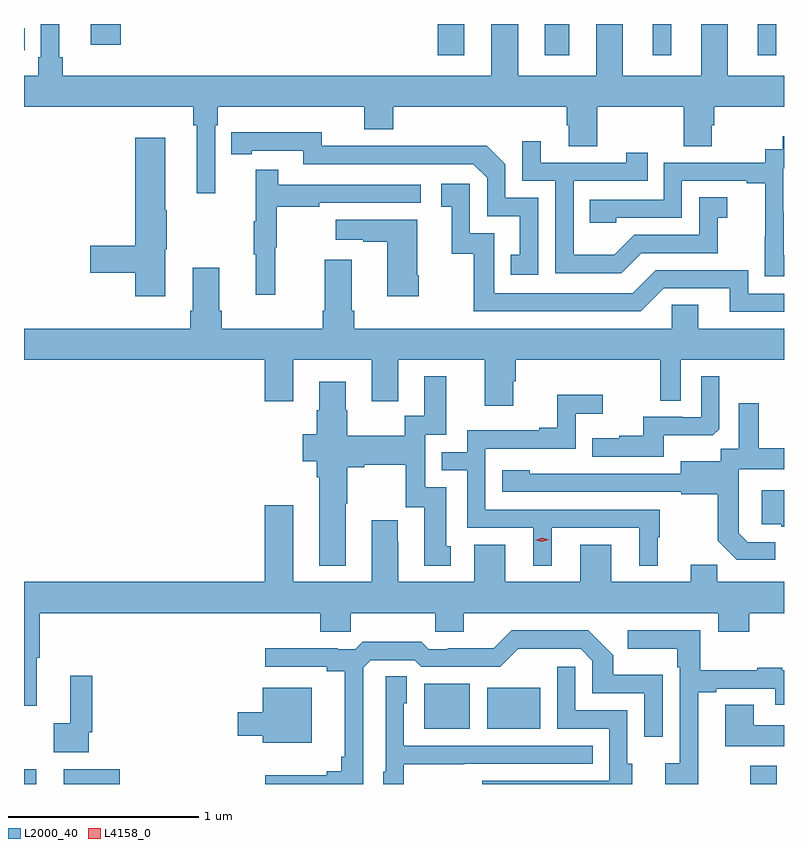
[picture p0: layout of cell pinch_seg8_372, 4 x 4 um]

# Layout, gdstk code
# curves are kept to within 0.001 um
import gdstk
lib = gdstk.Library(unit=1e-6, precision=1e-09)
def R(c, l, rs):  # rectangles x0, y0, x1, y1
    for r in rs: c.add(gdstk.rectangle(r[:2], r[2:], *l))
def P(c, l, *ps):  # polygons
    for p in ps: c.add(gdstk.Polygon(p, *l))
L2000_40 = (2000, 40)
L4158_0 = (4158, 0)

pinch_seg8_372 = lib.new_cell('pinch_seg8_372')
R(pinch_seg8_372, L2000_40, [(409.853,1104.944,409.918,1105.021), (410.063,1104.944,410.356,1105.021), (413.675,1104.944,413.815,1105.039), (411.959,1105.235,412.198,1105.471), (412.292,1105.235,412.57,1105.45), (412.031,1108.779,412.171,1108.944), (412.595,1108.779,412.723,1108.944), (413.162,1108.779,413.26,1108.944), (413.714,1108.779,413.812,1108.944), (409.853,1108.806,409.856,1108.922), (410.204,1108.836,410.363,1108.944)])
P(pinch_seg8_372, L2000_40, [(410.859,1108.412),(410.873,1108.412),(410.873,1108.508),(411.644,1108.508),(411.644,1108.391),(411.797,1108.391),(411.797,1108.508),(412.709,1108.508),(412.709,1108.41),(412.721,1108.41),(412.721,1108.3),(412.869,1108.3),(412.869,1108.508),(413.326,1108.508),(413.326,1108.3),(413.473,1108.3),(413.473,1108.41),(413.486,1108.41),(413.486,1108.508),(413.853,1108.508),(413.853,1108.672),(413.557,1108.672),(413.557,1108.944),(413.417,1108.944),(413.417,1108.672),(413.005,1108.672),(413.005,1108.944),(412.865,1108.944),(412.865,1108.672),(412.453,1108.672),(412.453,1108.944),(412.313,1108.944),(412.313,1108.672),(410.057,1108.672),(410.057,1108.768),(410.038,1108.768),(410.038,1108.944),(409.941,1108.944),(409.941,1108.768),(409.928,1108.768),(409.928,1108.672),(409.853,1108.672),(409.853,1108.508),(410.743,1108.508),(410.743,1108.412),(410.762,1108.412),(410.762,1108.053),(410.859,1108.053)],
  [(412.56,1108.029),(412.386,1108.029),(412.386,1108.206),(412.288,1108.304),(411.88,1108.304),(411.88,1108.302),(411.42,1108.302),(411.42,1108.375),(410.944,1108.374),(410.944,1108.258),(411.052,1108.258),(411.052,1108.278),(411.324,1108.278),(411.324,1108.206),(412.218,1108.206),(412.29,1108.134),(412.29,1107.933),(412.463,1107.933),(412.463,1107.729),(412.414,1107.729),(412.414,1107.624),(412.56,1107.624)],
  [(413.853,1107.727),(413.852,1107.727),(413.852,1107.956),(413.85,1107.956),(413.85,1108.185),(413.853,1108.185),(413.853,1108.354),(413.847,1108.354),(413.847,1108.284),(413.754,1108.284),(413.754,1108.215),(413.22,1108.215),(413.22,1108.02),(412.831,1108.02),(412.831,1107.897),(412.971,1107.897),(412.971,1107.924),(413.316,1107.924),(413.316,1108.119),(413.657,1108.119),(413.657,1108.107),(413.753,1108.107),(413.753,1107.823),(413.752,1107.823),(413.752,1107.617),(413.853,1107.617)],
  [(410.596,1107.759),(410.604,1107.759),(410.604,1107.965),(410.596,1107.965),(410.596,1108.345),(410.438,1108.345),(410.438,1107.776),(410.202,1107.776),(410.202,1107.634),(410.438,1107.634),(410.438,1107.51),(410.596,1107.51)],
  [(413.101,1107.738),(413.505,1107.738),(413.505,1107.923),(413.554,1107.923),(413.554,1108.033),(413.406,1108.033),(413.406,1107.834),(413.064,1107.834),(412.96,1107.73),(412.746,1107.73),(412.746,1108.119),(413.135,1108.119),(413.135,1108.267),(413.024,1108.267),(413.024,1108.215),(412.573,1108.215),(412.573,1108.327),(412.476,1108.327),(412.476,1108.119),(412.65,1108.119),(412.65,1107.633),(412.996,1107.633)],
  [(411.176,1107.768),(411.184,1107.768),(411.184,1107.982),(411.407,1107.982),(411.407,1108.002),(411.94,1108.002),(411.94,1108.098),(411.191,1108.098),(411.191,1108.177),(411.074,1108.177),(411.074,1107.905),(411.063,1107.905),(411.063,1107.731),(411.074,1107.731),(411.074,1107.519),(411.176,1107.519)],
  [(413.853,1107.525),(413.664,1107.525),(413.664,1107.648),(413.178,1107.648),(413.058,1107.528),(412.329,1107.528),(412.329,1107.843),(412.2,1107.843),(412.2,1108.102),(412.05,1108.102),(412.05,1107.981),(412.103,1107.981),(412.103,1107.735),(412.221,1107.735),(412.221,1107.432),(413.1,1107.432),(413.22,1107.552),(413.567,1107.552),(413.567,1107.429),(413.853,1107.429)],
  [(411.93,1107.622),(411.922,1107.622),(411.922,1107.913),(411.495,1107.913),(411.495,1107.809),(411.638,1107.809),(411.638,1107.799),(411.764,1107.799),(411.764,1107.51),(411.93,1107.51)],
  [(412.429,1107.063),(412.442,1107.063),(412.442,1107.176),(413.202,1107.176),(413.202,1106.962),(413.31,1106.962),(413.31,1107.176),(413.853,1107.176),(413.853,1107.34),(413.401,1107.34),(413.401,1107.467),(413.262,1107.467),(413.262,1107.34),(411.59,1107.34),(411.59,1107.436),(411.577,1107.436),(411.577,1107.703),(411.437,1107.703),(411.437,1107.436),(411.425,1107.436),(411.425,1107.34),(410.894,1107.34),(410.894,1107.436),(410.881,1107.436),(410.881,1107.661),(410.741,1107.661),(410.741,1107.436),(410.729,1107.436),(410.729,1107.34),(409.853,1107.34),(409.853,1107.176),(411.119,1107.176),(411.119,1106.958),(411.271,1106.958),(411.271,1107.176),(411.683,1107.176),(411.683,1106.958),(411.823,1106.958),(411.823,1107.176),(412.277,1107.176),(412.277,1106.934),(412.429,1106.934)],
  [(411.547,1106.419),(411.555,1106.419),(411.555,1106.612),(411.643,1106.612),(411.643,1106.624),(411.863,1106.624),(411.863,1106.4),(411.959,1106.4),(411.959,1106.094),(412.099,1106.094),(412.099,1106.196),(412.075,1106.196),(412.075,1106.505),(411.966,1106.505),(411.966,1106.781),(412.075,1106.781),(412.075,1107.091),(411.959,1107.091),(411.959,1106.882),(411.858,1106.882),(411.858,1106.776),(411.555,1106.776),(411.555,1106.91),(411.547,1106.91),(411.547,1107.061),(411.407,1107.061),(411.407,1106.91),(411.395,1106.91),(411.395,1106.784),(411.32,1106.784),(411.32,1106.642),(411.395,1106.642),(411.395,1106.558),(411.407,1106.558),(411.407,1106.093),(411.547,1106.093)],
  [(413.221,1106.78),(413.479,1106.78),(413.511,1106.811),(413.511,1107.091),(413.418,1107.091),(413.418,1106.874),(413.318,1106.874),(413.318,1106.877),(413.111,1106.877),(413.111,1106.776),(412.987,1106.776),(412.987,1106.764),(412.843,1106.764),(412.843,1106.667),(413.221,1106.667)],
  [(412.63,1106.292),(413.09,1106.292),(413.09,1106.093),(413.188,1106.093),(413.188,1106.244),(413.2,1106.244),(413.2,1106.388),(412.281,1106.388),(412.281,1106.709),(412.758,1106.709),(412.758,1106.894),(412.9,1106.894),(412.9,1106.993),(412.66,1106.993),(412.66,1106.818),(412.565,1106.818),(412.565,1106.805),(412.185,1106.805),(412.185,1106.691),(412.051,1106.691),(412.051,1106.595),(412.185,1106.595),(412.185,1106.292),(412.532,1106.292),(412.532,1106.093),(412.63,1106.093)],
  [(413.806,1106.217),(413.661,1106.217),(413.614,1106.264),(413.614,1106.359),(413.616,1106.359),(413.616,1106.6),(413.853,1106.6),(413.853,1106.71),(413.719,1106.71),(413.719,1106.947),(413.615,1106.947),(413.615,1106.708),(413.52,1106.708),(413.52,1106.644),(413.309,1106.644),(413.309,1106.577),(412.515,1106.578),(412.515,1106.596),(412.371,1106.596),(412.371,1106.481),(413.313,1106.481),(413.313,1106.469),(413.505,1106.469),(413.505,1106.223),(413.605,1106.123),(413.806,1106.123)],
  [(413.853,1106.491),(413.735,1106.491),(413.735,1106.31),(413.839,1106.31),(413.839,1106.298),(413.853,1106.298)],
  [(409.919,1105.608),(409.937,1105.608),(409.937,1105.844),(411.413,1105.844),(411.413,1105.746),(411.573,1105.746),(411.573,1105.844),(412.018,1105.844),(412.018,1105.746),(412.168,1105.746),(412.168,1105.844),(413.507,1105.844),(413.507,1105.745),(413.671,1105.745),(413.671,1105.844),(413.853,1105.844),(413.853,1106.008),(413.501,1106.008),(413.501,1106.099),(413.363,1106.099),(413.363,1106.008),(412.945,1106.008),(412.945,1106.203),(412.781,1106.203),(412.781,1106.008),(412.387,1106.008),(412.387,1106.203),(412.223,1106.203),(412.223,1106.008),(411.823,1106.008),(411.823,1106.219),(411.82,1106.219),(411.82,1106.332),(411.683,1106.332),(411.683,1106.008),(411.271,1106.008),(411.271,1106.41),(411.119,1106.41),(411.119,1106.008),(409.853,1106.008),(409.853,1105.356),(409.919,1105.356)],
  [(413.401,1105.428),(413.497,1105.428),(413.497,1105.446),(413.807,1105.446),(413.807,1105.362),(413.853,1105.362),(413.853,1105.542),(413.843,1105.542),(413.843,1105.555),(413.711,1105.555),(413.711,1105.544),(413.413,1105.544),(413.413,1105.752),(413.031,1105.752),(413.031,1105.655),(413.292,1105.655),(413.292,1105.559),(413.304,1105.559),(413.304,1105.054),(413.229,1105.054),(413.229,1104.944),(413.401,1104.944)],
  [(411.639,1105.557),(411.678,1105.596),(411.909,1105.596),(411.945,1105.56),(412.359,1105.56),(412.454,1105.655),(412.782,1105.656),(412.845,1105.593),(412.845,1105.422),(413.118,1105.422),(413.118,1105.194),(413.214,1105.194),(413.214,1105.519),(412.953,1105.519),(412.953,1105.622),(412.822,1105.752),(412.419,1105.752),(412.325,1105.658),(412.084,1105.658),(412.084,1105.653),(411.984,1105.653),(411.945,1105.693),(411.637,1105.693),(411.597,1105.653),(411.503,1105.653),(411.503,1105.658),(411.123,1105.658),(411.123,1105.56),(411.446,1105.56),(411.446,1105.538),(411.542,1105.538),(411.542,1105.087),(411.523,1105.087),(411.523,1105.01),(411.446,1105.01),(411.446,1104.991),(411.123,1104.991),(411.123,1104.944),(411.639,1104.944)],
  [(413.053,1105.05),(413.028,1105.05),(413.028,1105.332),(412.755,1105.332),(412.755,1105.561),(412.659,1105.561),(412.659,1105.236),(412.932,1105.236),(412.932,1104.96),(412.265,1104.96),(412.265,1104.944),(413.053,1104.944)],
  [(410.193,1105.216),(410.213,1105.216),(410.213,1105.513),(410.096,1105.513),(410.096,1105.265),(410.01,1105.265),(410.01,1105.112),(410.193,1105.112)],
  [(411.852,1105.049),(412.169,1105.049),(412.169,1105.05),(412.847,1105.05),(412.847,1105.146),(411.852,1105.146),(411.852,1105.368),(411.868,1105.368),(411.868,1105.511),(411.756,1105.511),(411.756,1105.008),(411.743,1105.008),(411.743,1104.944),(411.852,1104.944)],
  [(411.367,1105.45),(411.11,1105.45),(411.11,1105.321),(410.979,1105.321),(410.979,1105.199),(411.11,1105.199),(411.11,1105.16),(411.367,1105.16)],
  [(413.853,1105.252),(413.695,1105.252),(413.695,1105.361),(413.543,1105.361),(413.543,1105.142),(413.853,1105.142)])
P(pinch_seg8_372, L4158_0, [(412.581,1106.219),(412.545,1106.228),(412.545,1106.228),(412.545,1106.228),(412.581,1106.239),(412.617,1106.23),(412.617,1106.23),(412.617,1106.23)])

lib.write_gds('pinch_seg8_372.gds')
